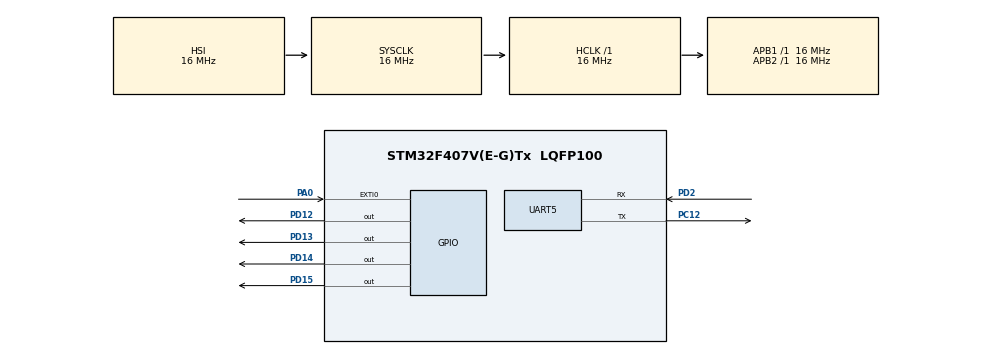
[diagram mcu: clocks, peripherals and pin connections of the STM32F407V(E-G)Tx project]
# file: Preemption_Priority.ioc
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Mcu.Family=STM32F4
Mcu.Name=STM32F407V(E-G)Tx
Mcu.Package=LQFP100
NVIC.EXTI0_IRQn=true\:2\:0\:true\:false\:true\:true\:true\:true
NVIC.PriorityGroup=NVIC_PRIORITYGROUP_4
NVIC.UART5_IRQn=true\:1\:0\:true\:false\:true\:true\:true\:true
PA0-WKUP.Signal=GPXTI0
PA13.Mode=Serial_Wire
PA13.Signal=SYS_JTMS-SWDIO
PA14.Mode=Serial_Wire
PA14.Signal=SYS_JTCK-SWCLK
PC12.Mode=Asynchronous
PC12.Signal=UART5_TX
PD12.Signal=GPIO_Output
PD13.Signal=GPIO_Output
PD14.Signal=GPIO_Output
PD15.Signal=GPIO_Output
PD2.Mode=Asynchronous
PD2.Signal=UART5_RX
ProjectManager.HeapSize=0x200
ProjectManager.StackSize=0x400
ProjectManager.TargetToolchain=MDK-ARM V5.32
RCC.AHBFreq_Value=16000000
RCC.APB1Freq_Value=16000000
RCC.APB2Freq_Value=16000000
RCC.CortexFreq_Value=16000000
RCC.HSE_VALUE=25000000
RCC.HSI_VALUE=16000000
RCC.LSE_VALUE=32768
RCC.SYSCLKFreq_VALUE=16000000
RCC.VCOOutputFreq_Value=192000000
UART5.VirtualMode=Asynchronous
board=custom

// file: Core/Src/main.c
/* USER CODE BEGIN Header */
/**
  ******************************************************************************
  * @file           : main.c
  * @brief          : Main program body
  ******************************************************************************
  * @attention
  *
  * Copyright (c) 2026 STMicroelectronics.
  * All rights reserved.
  *
  * This software is licensed under terms that can be found in the LICENSE file
  * in the root directory of this software component.
  * If no LICENSE file comes with this software, it is provided AS-IS.
  *
  ******************************************************************************
  */
/* USER CODE END Header */
#include "main.h"

UART_HandleTypeDef huart5;

/* USER CODE BEGIN PV */
#include "string.h"

uint8_t uRx_Data;
/* USER CODE END PV */

void SystemClock_Config(void);
static void MX_GPIO_Init(void);
static void MX_UART5_Init(void);

int main(void)
{

  /* MCU Configuration--------------------------------------------------------*/

  /* Reset of all peripherals, Initializes the Flash interface and the Systick. */
  HAL_Init();

  /* Configure the system clock */
  SystemClock_Config();

  /* Initialize all configured peripherals */
  MX_GPIO_Init();
  MX_UART5_Init();
  /* USER CODE BEGIN 2 */
	if (HAL_UART_Receive_IT(&huart5, &uRx_Data, 1) == HAL_OK)
	{
			uint8_t Test[] = "HAL_UART_Receive_IT has been called!\r\n";

			HAL_UART_Transmit(&huart5, Test, sizeof(Test), 10);
	}
  /* USER CODE END 2 */

  /* Infinite loop */
  while (1)
  {

  }
}

void SystemClock_Config(void)
{
  RCC_OscInitTypeDef RCC_OscInitStruct = {0};
  RCC_ClkInitTypeDef RCC_ClkInitStruct = {0};

  /** Configure the main internal regulator output voltage
  */
  __HAL_RCC_PWR_CLK_ENABLE();
  __HAL_PWR_VOLTAGESCALING_CONFIG(PWR_REGULATOR_VOLTAGE_SCALE1);

  /** Initializes the RCC Oscillators according to the specified parameters
  * in the RCC_OscInitTypeDef structure.
  */
  RCC_OscInitStruct.OscillatorType = RCC_OSCILLATORTYPE_HSI;
  RCC_OscInitStruct.HSIState = RCC_HSI_ON;
  RCC_OscInitStruct.HSICalibrationValue = RCC_HSICALIBRATION_DEFAULT;
  RCC_OscInitStruct.PLL.PLLState = RCC_PLL_NONE;
  if (HAL_RCC_OscConfig(&RCC_OscInitStruct) != HAL_OK)
  {
    Error_Handler();
  }

  /** Initializes the CPU, AHB and APB buses clocks
  */
  RCC_ClkInitStruct.ClockType = RCC_CLOCKTYPE_HCLK|RCC_CLOCKTYPE_SYSCLK
                              |RCC_CLOCKTYPE_PCLK1|RCC_CLOCKTYPE_PCLK2;
  RCC_ClkInitStruct.SYSCLKSource = RCC_SYSCLKSOURCE_HSI;
  RCC_ClkInitStruct.AHBCLKDivider = RCC_SYSCLK_DIV1;
  RCC_ClkInitStruct.APB1CLKDivider = RCC_HCLK_DIV1;
  RCC_ClkInitStruct.APB2CLKDivider = RCC_HCLK_DIV1;

  if (HAL_RCC_ClockConfig(&RCC_ClkInitStruct, FLASH_LATENCY_0) != HAL_OK)
  {
    Error_Handler();
  }
}

static void MX_UART5_Init(void)
{

  huart5.Instance = UART5;
  huart5.Init.BaudRate = 115200;
  huart5.Init.WordLength = UART_WORDLENGTH_8B;
  huart5.Init.StopBits = UART_STOPBITS_1;
  huart5.Init.Parity = UART_PARITY_NONE;
  huart5.Init.Mode = UART_MODE_TX_RX;
  huart5.Init.HwFlowCtl = UART_HWCONTROL_NONE;
  huart5.Init.OverSampling = UART_OVERSAMPLING_16;
  if (HAL_UART_Init(&huart5) != HAL_OK)
  {
    Error_Handler();
  }

}

static void MX_GPIO_Init(void)
{
  GPIO_InitTypeDef GPIO_InitStruct = {0};

  /* GPIO Ports Clock Enable */
  __HAL_RCC_GPIOA_CLK_ENABLE();
  __HAL_RCC_GPIOD_CLK_ENABLE();
  __HAL_RCC_GPIOC_CLK_ENABLE();

  /*Configure GPIO pin Output Level */
  HAL_GPIO_WritePin(GPIOD, GPIO_PIN_12|GPIO_PIN_13|GPIO_PIN_14|GPIO_PIN_15, GPIO_PIN_RESET);

  /*Configure GPIO pin : PA0 */
  GPIO_InitStruct.Pin = GPIO_PIN_0;
  GPIO_InitStruct.Mode = GPIO_MODE_IT_RISING;
  GPIO_InitStruct.Pull = GPIO_NOPULL;
  HAL_GPIO_Init(GPIOA, &GPIO_InitStruct);

  /*Configure GPIO pins : PD12 PD13 PD14 PD15 */
  GPIO_InitStruct.Pin = GPIO_PIN_12|GPIO_PIN_13|GPIO_PIN_14|GPIO_PIN_15;
  GPIO_InitStruct.Mode = GPIO_MODE_OUTPUT_PP;
  GPIO_InitStruct.Pull = GPIO_NOPULL;
  GPIO_InitStruct.Speed = GPIO_SPEED_FREQ_LOW;
  HAL_GPIO_Init(GPIOD, &GPIO_InitStruct);

  /* EXTI interrupt init*/
  HAL_NVIC_SetPriority(EXTI0_IRQn, 2, 0);
  HAL_NVIC_EnableIRQ(EXTI0_IRQn);

}

/* USER CODE BEGIN 4 */
void HAL_GPIO_EXTI_Callback(uint16_t GPIO_Pin)
{
		uint8_t i, j;
		uint16_t PIN_NUM = 0;

    if (GPIO_Pin == GPIO_PIN_0)
    {
      if (HAL_GPIO_ReadPin(GPIOA, GPIO_PIN_0) == GPIO_PIN_SET)
      {
          for (j = 0; j < 3; j++)
          {
              for (i = 0; i < 4; i++)
              {
                  PIN_NUM = GPIO_PIN_12 << i;

                  HAL_GPIO_WritePin(GPIOD, PIN_NUM, GPIO_PIN_SET);
                  HAL_Delay(500);
              }

              HAL_GPIO_WritePin(GPIOD, GPIO_PIN_12 | GPIO_PIN_13 | GPIO_PIN_14 | GPIO_PIN_15, GPIO_PIN_RESET);

              HAL_Delay(500);
          }
      }
    }
}

void HAL_UART_RxCpltCallback(UART_HandleTypeDef *huart)
{
		uint8_t i;
    if (huart->Instance == UART5)
    {
      for (i = 0; i < 4; i++)
      {
          HAL_GPIO_TogglePin(GPIOD, GPIO_PIN_12 | GPIO_PIN_13 | GPIO_PIN_14 | GPIO_PIN_15);

          HAL_Delay(1000);
      }
			HAL_UART_Receive_IT(&huart5, &uRx_Data, 1);
    }
}
/* USER CODE END 4 */

void Error_Handler(void)
{
  __disable_irq();
  while (1)
  {
  }
}
